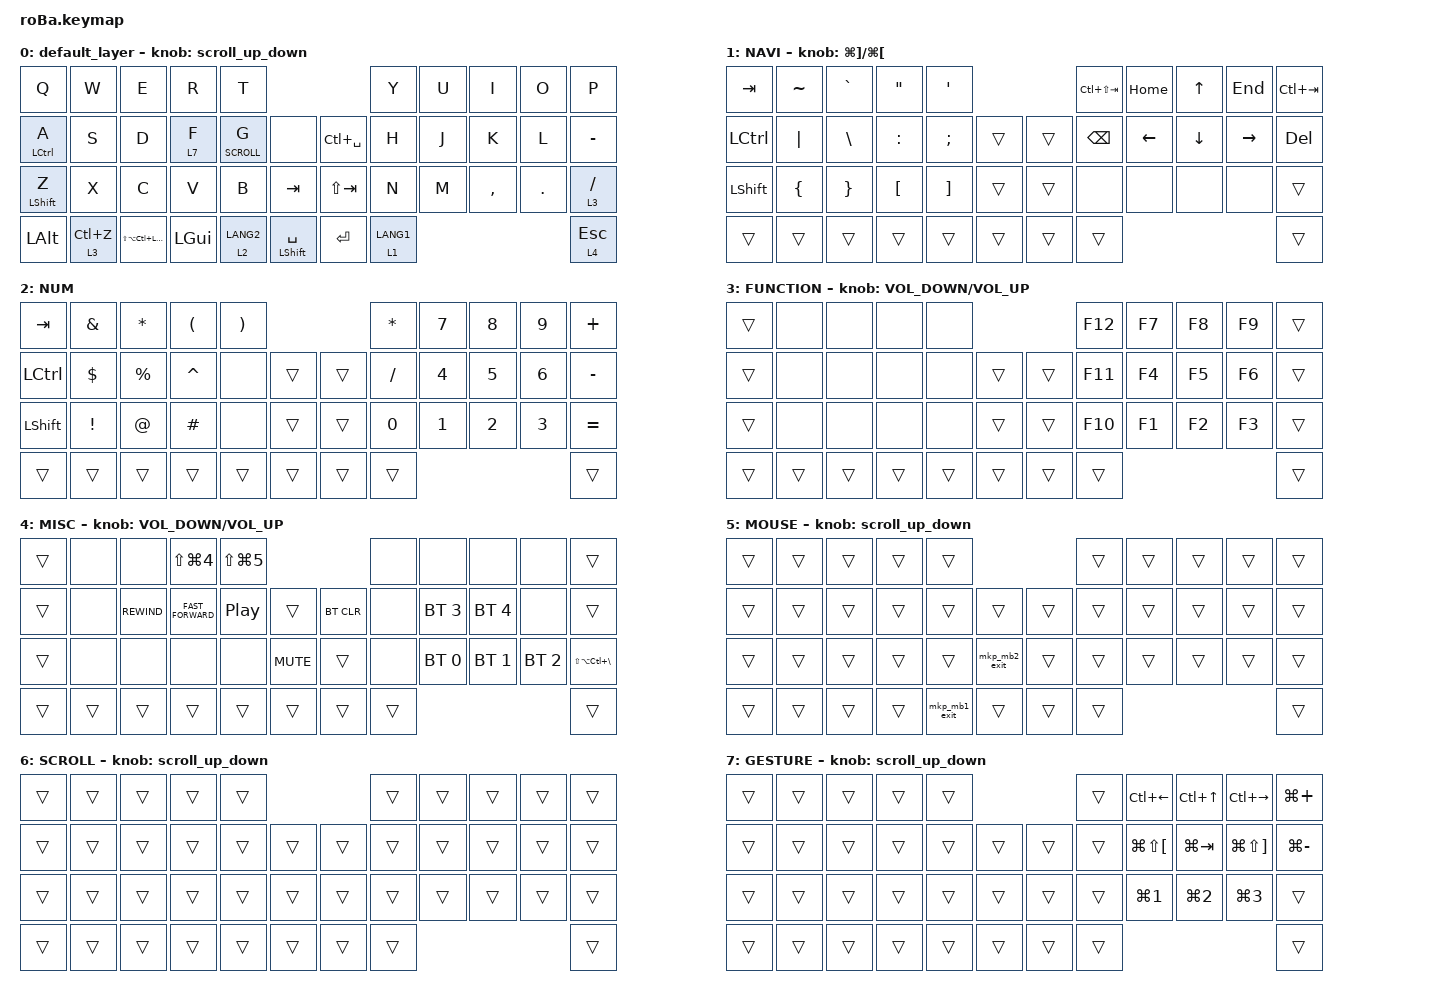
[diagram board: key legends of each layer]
#include <input/processors.dtsi>
#include <behaviors.dtsi>
#include <dt-bindings/zmk/bt.h>
#include <dt-bindings/zmk/keys.h>
#include <dt-bindings/zmk/pointing.h>

#define ZMK_POINTING_DEFAULT_SCRL_VAL 80
#define MOUSE 5
#define SCROLL 6
#define GESTURE 7

&mt {
    flavor = "balanced";
    quick-tap-ms = <0>;
};

&lt {
    flavor = "balanced";
    quick-tap-ms = <300>;
    tapping-term-ms = <200>;
};

&trackball { scroll-layers = <SCROLL>; };

/ {
    combos {
        compatible = "zmk,combos";

        tab {
            bindings = <&kp TAB>;
            key-positions = <11 12>;
        };

        layer4_ESC {
            bindings = <&lt 4 ESC>;
            key-positions = <40 39>;
        };
    };

    macros {
        to_layer_0: to_layer_0 {
            compatible = "zmk,behavior-macro-one-param";
            #binding-cells = <1>;
            bindings = <&to 0 &macro_param_1to1 &kp MACRO_PLACEHOLDER>;
            label = "TO_LAYER_0";
        };

        mkp_mb1_exit: mkp_mb1_exit {
            compatible = "zmk,behavior-macro";
            #binding-cells = <0>;
            bindings =
                <&macro_press>,
                <&mkp MB1>,
                <&macro_pause_for_release>,
                <&macro_release>,
                <&mkp MB1 &to 0>;

            label = "MKP_MB1_EXIT";
        };

        mkp_mb2_exit: mkp_mb2_exit {
            compatible = "zmk,behavior-macro";
            #binding-cells = <0>;
            bindings =
                <&macro_press>,
                <&mkp MB2>,
                <&macro_pause_for_release>,
                <&macro_release>,
                <&mkp MB2 &to 0>;

            label = "MKP_MB2_EXIT";
        };

        mkp_mb3_exit: mkp_mb3_exit {
            compatible = "zmk,behavior-macro";
            #binding-cells = <0>;
            bindings =
                <&macro_press>,
                <&mkp MB3>,
                <&macro_pause_for_release>,
                <&macro_release>,
                <&mkp MB3 &to 0>;

            label = "MKP_MB3_EXIT";
        };
    };

    behaviors {
        lt_to_layer_0: lt_to_layer_0 {
            compatible = "zmk,behavior-hold-tap";
            label = "LAYER_TAP_TO_0";
            bindings = <&mo>, <&to_layer_0>;

            #binding-cells = <2>;
            tapping-term-ms = <200>;
        };

        scroll_up_down: scroll_up_down {
            compatible = "zmk,behavior-sensor-rotate";
            label = "SCROLL_UP_DOWN";
            #sensor-binding-cells = <0>;
            bindings = <&msc SCRL_DOWN>, <&msc SCRL_UP>;

            tap-ms = <20>;
        };

        scroll_right_left: mouse_wheel_right_left {
            compatible = "zmk,behavior-sensor-rotate";
            #sensor-binding-cells = <0>;
            bindings = <&msc SCRL_LEFT>, <&msc SCRL_RIGHT>;

            tap-ms = <20>;
        };
    };

    zip_keybind_gesture: zip_keybind_gesture {
        compatible = "zmk,input-processor-keybind";
        #input-processor-cells = <0>;
        bindings =
            <&kp LG(RIGHT_BRACKET)>,
            <&kp LG(LEFT_BRACKET)>,
            <&kp LG(T)>,
            <&kp LG(W)>;

        tick = <30>;
        tap-ms = <10>;
        mode = <1>;
        track_remainders;
    };

    keymap {
        compatible = "zmk,keymap";

        default_layer {
            bindings = <
&kp Q               &kp W        &kp E                 &kp R         &kp T                                                  &kp Y        &kp U  &kp I      &kp O    &kp P
&mt LEFT_CONTROL A  &kp S        &kp D                 &lt 7 F       &lt SCROLL G  &none                     &kp LC(SPACE)  &kp H        &kp J  &kp K      &kp L    &kp MINUS
&mt LEFT_SHIFT Z    &kp X        &kp C                 &kp V         &kp B         &kp TAB                   &kp LS(TAB)    &kp N        &kp M  &kp COMMA  &kp DOT  &lt 3 SLASH
&kp LEFT_ALT        &lt 3 LC(Z)  &kp LS(LA(LC(LGUI)))  &kp LEFT_GUI  &lt 2 LANG2   &mt LEFT_SHIFT SPACE      &kp ENTER      &lt 1 LANG1                             &lt 4 ESCAPE
            >;

            sensor-bindings = <&scroll_up_down>;
        };

        NAVI {
            bindings = <
&kp TAB           &kp TILDE       &kp GRAVE        &kp DOUBLE_QUOTES  &kp SQT                                &kp LC(LS(TAB))  &kp HOME  &kp UP_ARROW  &kp END    &kp LC(TAB)
&kp LEFT_CONTROL  &kp PIPE        &kp BACKSLASH    &kp COLON          &kp SEMI           &trans      &trans  &kp BACKSPACE    &kp LEFT  &kp DOWN      &kp RIGHT  &kp DELETE
&kp LEFT_SHIFT    &kp LEFT_BRACE  &kp RIGHT_BRACE  &kp LEFT_BRACKET   &kp RIGHT_BRACKET  &trans      &trans  &none            &none     &none         &none      &trans
&trans            &trans          &trans           &trans             &trans             &trans      &trans  &trans                                              &trans
            >;

            sensor-bindings = <&inc_dec_kp LG(RIGHT_BRACKET) LG(LEFT_BRACKET)>;
        };

        NUM {
            bindings = <
&kp TAB           &kp AMPERSAND    &kp ASTERISK  &kp LEFT_PARENTHESIS  &kp RIGHT_PARENTHESIS                      &kp ASTERISK  &kp N7        &kp N8        &kp N9        &kp PLUS
&kp LEFT_CONTROL  &kp DOLLAR       &kp PERCENT   &kp CARET             &none                  &trans      &trans  &kp SLASH     &kp NUMBER_4  &kp N5        &kp NUMBER_6  &kp MINUS
&kp LEFT_SHIFT    &kp EXCLAMATION  &kp AT_SIGN   &kp HASH              &none                  &trans      &trans  &kp N0        &kp NUMBER_1  &kp NUMBER_2  &kp NUMBER_3  &kp EQUAL
&trans            &trans           &trans        &trans                &trans                 &trans      &trans  &trans                                                  &trans
            >;
        };

        FUNCTION {
            bindings = <
&trans  &none   &none   &none   &none                       &kp F12  &kp F7  &kp F8  &kp F9  &trans
&trans  &none   &none   &none   &none   &trans      &trans  &kp F11  &kp F4  &kp F5  &kp F6  &trans
&trans  &none   &none   &none   &none   &trans      &trans  &kp F10  &kp F1  &kp F2  &kp F3  &trans
&trans  &trans  &trans  &trans  &trans  &trans      &trans  &trans                           &trans
            >;

            sensor-bindings = <&inc_dec_kp C_VOLUME_DOWN C_VOLUME_UP>;
        };

        MISC {
            bindings = <
&trans  &none   &none         &kp LS(LG(NUMBER_4))  &kp LS(LG(N5))                                &none   &none         &none         &none         &trans
&trans  &none   &kp C_REWIND  &kp C_FAST_FORWARD    &kp C_PLAY_PAUSE  &trans          &bt BT_CLR  &none   &bt BT_SEL 3  &bt BT_SEL 4  &none         &trans
&trans  &none   &none         &none                 &none             &kp K_MUTE      &trans      &none   &bt BT_SEL 0  &bt BT_SEL 1  &bt BT_SEL 2  &kp LS(LA(LC(BACKSLASH)))
&trans  &trans  &trans        &trans                &trans            &trans          &trans      &trans                                            &trans
            >;

            sensor-bindings = <&inc_dec_kp C_VOLUME_DOWN C_VOLUME_UP>;
        };

        MOUSE {
            bindings = <
&trans  &trans  &trans  &trans  &trans                                    &trans  &trans  &trans  &trans  &trans
&trans  &trans  &trans  &trans  &trans         &trans             &trans  &trans  &trans  &trans  &trans  &trans
&trans  &trans  &trans  &trans  &trans         &mkp_mb2_exit      &trans  &trans  &trans  &trans  &trans  &trans
&trans  &trans  &trans  &trans  &mkp_mb1_exit  &trans             &trans  &trans                          &trans
            >;

            sensor-bindings = <&scroll_up_down>;
        };

        SCROLL {
            bindings = <
&trans  &trans  &trans  &trans  &trans                      &trans  &trans  &trans  &trans  &trans
&trans  &trans  &trans  &trans  &trans  &trans      &trans  &trans  &trans  &trans  &trans  &trans
&trans  &trans  &trans  &trans  &trans  &trans      &trans  &trans  &trans  &trans  &trans  &trans
&trans  &trans  &trans  &trans  &trans  &trans      &trans  &trans                          &trans
            >;

            sensor-bindings = <&scroll_up_down>;
        };

        GESTURE {
            bindings = <
&trans  &trans  &trans  &trans  &trans                      &trans  &kp LC(LEFT_ARROW)        &kp LC(UP_ARROW)  &kp LC(RIGHT)              &kp LG(PLUS)
&trans  &trans  &trans  &trans  &trans  &trans      &trans  &trans  &kp LG(LS(LEFT_BRACKET))  &kp LG(TAB)       &kp LG(LS(RIGHT_BRACKET))  &kp LG(MINUS)
&trans  &trans  &trans  &trans  &trans  &trans      &trans  &trans  &kp LG(NUMBER_1)          &kp LG(NUMBER_2)  &kp LG(NUMBER_3)           &trans
&trans  &trans  &trans  &trans  &trans  &trans      &trans  &trans                                                                         &trans
            >;

            sensor-bindings = <&scroll_up_down>;
        };
    };
};
